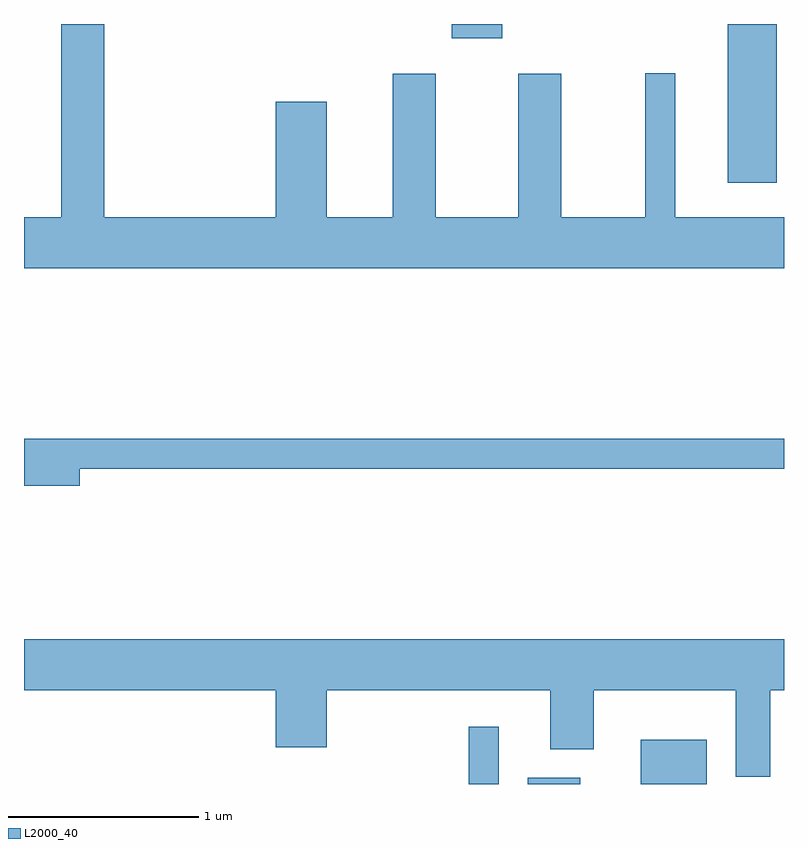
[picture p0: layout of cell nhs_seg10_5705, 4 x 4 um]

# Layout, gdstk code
import gdstk
lib = gdstk.Library(unit=1e-6, precision=1e-09)
def R(c, l, rs):  # rectangles x0, y0, x1, y1
    for r in rs: c.add(gdstk.rectangle(r[:2], r[2:], *l))
def P(c, l, *ps):  # polygons
    for p in ps: c.add(gdstk.Polygon(p, *l))
L2000_40 = (2000, 40)

nhs_seg10_5705 = lib.new_cell('nhs_seg10_5705')
R(nhs_seg10_5705, L2000_40, [(355.951,2124.522,356.109,2124.823), (356.261,2124.522,356.539,2124.554), (356.856,2124.522,357.204,2124.754), (357.316,2127.686,357.574,2128.522), (355.861,2128.446,356.129,2128.522)])
P(nhs_seg10_5705, L2000_40, [(357.611,2127.504),(357.039,2127.504),(357.039,2128.263),(356.881,2128.263),(356.881,2127.504),(356.439,2127.504),(356.439,2128.259),(356.211,2128.259),(356.211,2127.504),(355.779,2127.504),(355.779,2128.259),(355.551,2128.259),(355.551,2127.504),(355.204,2127.504),(355.204,2128.114),(354.936,2128.114),(354.936,2127.504),(354.034,2127.504),(354.034,2128.522),(353.806,2128.522),(353.806,2127.504),(353.611,2127.504),(353.611,2127.236),(357.611,2127.236)],
  [(353.904,2126.181),(357.611,2126.181),(357.611,2126.339),(353.611,2126.339),(353.611,2126.091),(353.904,2126.091)],
  [(357.539,2125.016),(357.611,2125.016),(357.611,2125.284),(353.611,2125.284),(353.611,2125.016),(354.936,2125.016),(354.936,2124.716),(355.204,2124.716),(355.204,2125.016),(356.381,2125.016),(356.381,2124.706),(356.609,2124.706),(356.609,2125.016),(357.356,2125.016),(357.356,2124.561),(357.539,2124.561)])

lib.write_gds('nhs_seg10_5705.gds')
